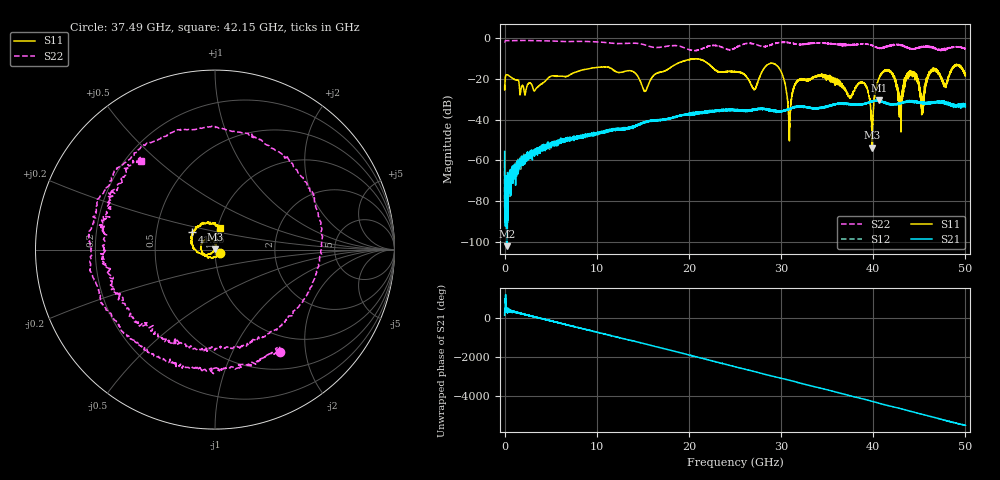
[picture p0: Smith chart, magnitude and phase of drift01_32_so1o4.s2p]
!Created with skrf (http://scikit-rf.org).
# Hz S RI R 50.0
!freq ReS11 ImS11 ReS21 ImS21 ReS12 ImS12 ReS22 ImS22
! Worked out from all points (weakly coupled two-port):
!   10001 points, 300 kHz to 50 GHz, reference 50 ohm
!   highest |S21| = -30.57 dB at 40.59 GHz (marker M1); lowest = -101.9 dB at 235.3 MHz (marker M2)
!   lowest |S11| = -53.8 dB at 39.87 GHz (marker M3), VSWR 1.00, Z = 49.8 + j0.0722 ohm
!   |S11| at or under -10 dB: start of sweep to end of sweep
!   |S22| runs from -6.6 to -1.4 dB; largest |S21 - S12| = 0.0043
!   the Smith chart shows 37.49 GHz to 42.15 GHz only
!   S11 on the Smith chart (normalised r, x): 37.49 GHz: 1.06, -0.04; 41.25 GHz: 0.76, +0.15; 42.15 GHz: 1.03, +0.25
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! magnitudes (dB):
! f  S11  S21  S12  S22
! 300 kHz  -23.8  -55.6  -60.9  -2.1
! 235.3 MHz  -18.1  -101.9  -74.0  -1.4
! 8.335 GHz  -15.9  -48.6  -48.4  -1.8
! 16.67 GHz  -17.1  -40.5  -40.3  -4.8
! 25 GHz  -16.6  -35.5  -35.4  -5.1
! 27.1 GHz  -25.3  -35.3  -35.2  -3.1
! 29.42 GHz  -13.1  -36.0  -36.0  -2.7
! 30.91 GHz  -45.5  -35.0  -34.8  -2.5
! 31.66 GHz  -21.8  -33.8  -33.5  -3.1
! 33.34 GHz  -19.7  -34.3  -34.5  -2.7
! 37.49 GHz  -29.2  -32.6  -32.6  -3.4
! 38.95 GHz  -22.2  -32.4  -32.4  -3.1
! 39.87 GHz  -53.8  -31.3  -31.1  -3.7
! 40.59 GHz  -20.1  -30.6  -30.8  -5.0
! 41.25 GHz  -15.9  -32.1  -31.8  -4.5
! 41.67 GHz  -16.1  -32.1  -32.4  -4.1
! 42.15 GHz  -18.3  -32.6  -32.5  -3.8
! 42.92 GHz  -34.7  -32.5  -32.2  -3.7
! 43.96 GHz  -17.5  -31.3  -31.2  -5.1
! 45.31 GHz  -37.4  -31.7  -31.9  -4.3
! 46.45 GHz  -15.7  -31.3  -31.5  -4.5
! 50 GHz  -18.3  -32.7  -33.1  -5.3
